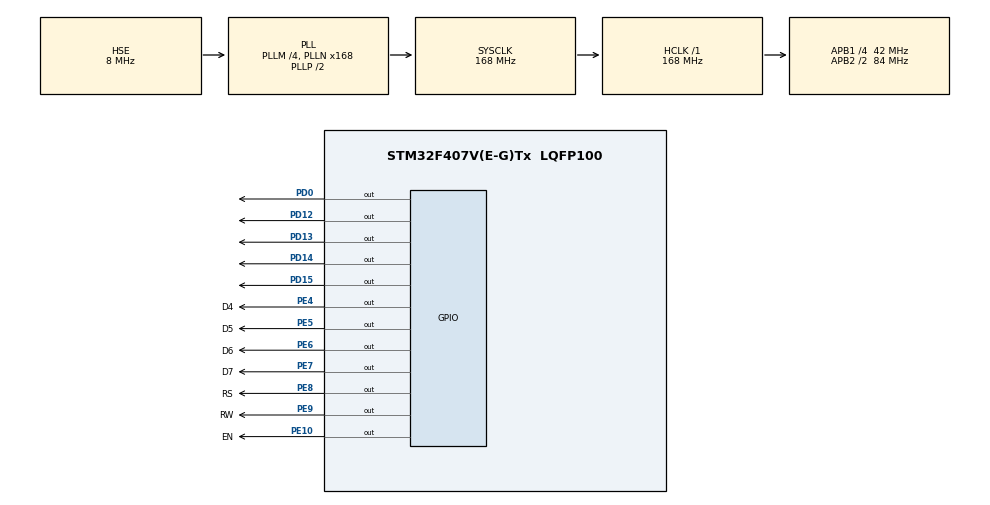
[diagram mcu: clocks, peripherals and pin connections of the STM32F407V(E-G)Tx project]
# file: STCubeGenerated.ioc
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Mcu.Family=STM32F4
Mcu.Name=STM32F407V(E-G)Tx
Mcu.Package=LQFP100
NVIC.PriorityGroup=NVIC_PRIORITYGROUP_4
PD0.GPIO_Speed=GPIO_SPEED_FREQ_VERY_HIGH
PD0.Signal=GPIO_Output
PD12.Signal=GPIO_Output
PD13.Signal=GPIO_Output
PD14.Signal=GPIO_Output
PD15.Signal=GPIO_Output
PE10.GPIO_Label=EN
PE10.GPIO_ModeDefaultOutputPP=GPIO_MODE_OUTPUT_PP
PE10.GPIO_PuPd=GPIO_NOPULL
PE10.Signal=GPIO_Output
PE4.GPIO_Label=D4
PE4.GPIO_ModeDefaultOutputPP=GPIO_MODE_OUTPUT_PP
PE4.GPIO_PuPd=GPIO_NOPULL
PE4.Signal=GPIO_Output
PE5.GPIO_Label=D5
PE5.GPIO_ModeDefaultOutputPP=GPIO_MODE_OUTPUT_PP
PE5.GPIO_PuPd=GPIO_NOPULL
PE5.Signal=GPIO_Output
PE6.GPIO_Label=D6
PE6.GPIO_ModeDefaultOutputPP=GPIO_MODE_OUTPUT_PP
PE6.GPIO_PuPd=GPIO_NOPULL
PE6.Signal=GPIO_Output
PE7.GPIO_Label=D7
PE7.GPIO_ModeDefaultOutputPP=GPIO_MODE_OUTPUT_PP
PE7.GPIO_PuPd=GPIO_NOPULL
PE7.Signal=GPIO_Output
PE8.GPIO_Label=RS
PE8.GPIO_ModeDefaultOutputPP=GPIO_MODE_OUTPUT_PP
PE8.GPIO_PuPd=GPIO_NOPULL
PE8.Signal=GPIO_Output
PE9.GPIO_Label=RW
PE9.GPIO_ModeDefaultOutputPP=GPIO_MODE_OUTPUT_PP
PE9.GPIO_PuPd=GPIO_NOPULL
PE9.Signal=GPIO_Output
PH0-OSC_IN.Mode=HSE-External-Oscillator
PH0-OSC_IN.Signal=RCC_OSC_IN
PH1-OSC_OUT.Mode=HSE-External-Oscillator
PH1-OSC_OUT.Signal=RCC_OSC_OUT
ProjectManager.HeapSize=0x200
ProjectManager.StackSize=0x400
ProjectManager.TargetToolchain=MDK-ARM V5
RCC.48MHZClocksFreq_Value=84000000
RCC.AHBFreq_Value=168000000
RCC.APB1CLKDivider=RCC_HCLK_DIV4
RCC.APB1Freq_Value=42000000
RCC.APB1TimFreq_Value=84000000
RCC.APB2CLKDivider=RCC_HCLK_DIV2
RCC.APB2Freq_Value=84000000
RCC.APB2TimFreq_Value=168000000
RCC.CortexFreq_Value=168000000
RCC.HCLKFreq_Value=168000000
RCC.HSE_VALUE=8000000
RCC.HSI_VALUE=16000000
RCC.LSE_VALUE=32768
RCC.PLLM=4
RCC.PLLN=168
RCC.PLLSourceVirtual=RCC_PLLSOURCE_HSE
RCC.SYSCLKFreq_VALUE=168000000
RCC.SYSCLKSource=RCC_SYSCLKSOURCE_PLLCLK
RCC.VCOOutputFreq_Value=336000000
TIM2.Period=65536-1
TIM2.Prescaler=84-1
VP_TIM2_VS_ClockSourceINT.Mode=Internal
board=custom

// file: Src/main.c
/* USER CODE BEGIN Header */
/**
  ******************************************************************************
  * @file           : main.c
  * @brief          : Main program body
  ******************************************************************************
  * @attention
  *
  * Copyright (c) 2023 STMicroelectronics.
  * All rights reserved.
  *
  * This software is licensed under terms that can be found in the LICENSE file
  * in the root directory of this software component.
  * If no LICENSE file comes with this software, it is provided AS-IS.
  *
  ******************************************************************************
  */
/* USER CODE END Header */
#include "main.h"

/* USER CODE BEGIN Includes */
#include "lcd.h"

/* USER CODE END Includes */

TIM_HandleTypeDef htim2;

void SystemClock_Config(void);
static void MX_GPIO_Init(void);
static void MX_TIM2_Init(void);

/* USER CODE BEGIN 0 */

/***********************************************************************/
/* one-wire */

void make_output (void)
{
	//__HAL_RCC_GPIOD_CLK_ENABLE();
	GPIO_InitTypeDef GPIO_InitStruct = {0};
	HAL_GPIO_WritePin(GPIOD, GPIO_PIN_0, GPIO_PIN_SET);
  GPIO_InitStruct.Pin = GPIO_PIN_0;
  GPIO_InitStruct.Mode = GPIO_MODE_OUTPUT_OD;
  GPIO_InitStruct.Pull = GPIO_NOPULL;
  GPIO_InitStruct.Speed = GPIO_SPEED_FREQ_HIGH;
  HAL_GPIO_Init(GPIOD, &GPIO_InitStruct);
}

void make_input (void)
{
	GPIO_InitTypeDef GPIO_InitStruct = {0};
	HAL_GPIO_WritePin(GPIOD, GPIO_PIN_0, GPIO_PIN_SET);
  GPIO_InitStruct.Pin = GPIO_PIN_0;
  GPIO_InitStruct.Mode = GPIO_MODE_INPUT;
  //GPIO_InitStruct.Pull = GPIO_NOPULL;
  GPIO_InitStruct.Speed = GPIO_SPEED_FREQ_HIGH;
  HAL_GPIO_Init(GPIOD, &GPIO_InitStruct);
}

void delayus (uint32_t us)
{

	__HAL_TIM_SET_COUNTER(&htim2,0);  // set the counter value a 0
	//HAL_TIM_Base_Start(&htim2);
	while (__HAL_TIM_GET_COUNTER(&htim2) < us );  // wait for the counter to reach the us input in the parameter
	// HAL_TIM_Base_Stop(&htim2);

}

void LH_signal(uint32_t L_time, uint32_t H_time) {
	HAL_GPIO_WritePin(GPIOD, GPIO_PIN_0, GPIO_PIN_RESET);
	delayus(L_time);//From pullup_HIGH to GND_LOW
	HAL_GPIO_WritePin(GPIOD, GPIO_PIN_0, GPIO_PIN_SET);
	delayus(H_time);//From GND_LOW to pullup_HIGH
}

uint8_t read_bit(void) {
	uint8_t bit = 0;
	LH_signal(1, 10);
	make_input();
	bit = (HAL_GPIO_ReadPin(GPIOD, GPIO_PIN_0) ? 1 : 0);
	delayus(50);
	make_output();
	return bit;
}

void write_bit(uint8_t bit) {
	if(bit == 0) LH_signal(60, 1);
	else LH_signal(1, 60);
}

uint8_t read_byte(void) {
	uint8_t data = 0;
	for (uint8_t i = 0; i < 8; i++)
	data += read_bit() << i;
	return data;
}

void write_byte(uint8_t data) {
	for (uint8_t i = 0; i < 8; i++)
		write_bit(data >> i & 1);
}

void get_presence(void) {
	uint8_t flag = 1;
	LH_signal(500, 0);
	make_input();
	delayus(60);//look for GND_LOW = DS18B20 exists, and set flag = 1
	flag = (HAL_GPIO_ReadPin(GPIOD, GPIO_PIN_0) ? 0 : 1); //not ?1:0
	make_output();
	delayus(400);
	if(flag) {
		HAL_GPIO_WritePin(GPIOD, GPIO_PIN_12, 1); //DS18B20 is ok, green led
		HAL_GPIO_WritePin(GPIOD, GPIO_PIN_14, 0);	//DS18B20 not ok, red led
	} else  {
		HAL_GPIO_WritePin(GPIOD, GPIO_PIN_12, 0);
		HAL_GPIO_WritePin(GPIOD, GPIO_PIN_14, 1);

	}

	HAL_Delay(1000);
}

void reset(void) {
	LH_signal(500, 500);
}

void get_ID(int * id_data) {
	// uint8_t id_data[] = {0,0,0,0,0,0,0,0};//8 Byte
	reset();
	write_byte(0x33);//Read ROM [33h] command
	for (uint8_t i = 0; i < 8; i++)
		id_data[i] = read_byte();//id_data[0] = 40 = 0x28
	/*
	for (uint8_t i = 0; i < 8; i++)
	{
		USB_Info_tutu("id", i, " = ", id_data[i]);
		HAL_Delay(200);
	}
	*/
}

void wait_for_1(uint32_t time) {
	make_input();
	delayus(time);
	while(HAL_GPIO_ReadPin(GPIOD, GPIO_PIN_0) == 0);
	make_output();
}

float get_temperature(void) {
	uint8_t pad_data[] = {0,0,0,0,0,0,0,0,0};//9 Byte
	reset();
	write_byte(0xCC);//Skip ROM [CCh]
	write_byte(0x44);//Convert Temperature [44h]
	wait_for_1(20);
	reset();
	write_byte(0xCC);//Skip ROM [CCh]
	write_byte(0xBE);//Read Scratchpad [BEh]
	for (uint8_t i = 0; i < 9; i++)
	pad_data[i] = read_byte();
	//factor out 1/16 and remember 1/16 != 1/16.0
	return ((pad_data[1] << 8) + pad_data[0])/16.0;
	//DS18B20.pdf: val of bit0: 2^(-4) = 1/16
}

/***********************************************************************/

/* USER CODE END 0 */

int main(void)
{

  /* MCU Configuration--------------------------------------------------------*/

  /* Reset of all peripherals, Initializes the Flash interface and the Systick. */
  HAL_Init();

  /* Configure the system clock */
  SystemClock_Config();

  /* Initialize all configured peripherals */
  MX_GPIO_Init();
  MX_TIM2_Init();
  /* USER CODE BEGIN 2 */

	// lcd_init
	HAL_GPIO_WritePin(RW_GPIO_Port, RW_Pin, 0);
	Lcd_PortType ports[] = { D4_GPIO_Port, D5_GPIO_Port, D6_GPIO_Port, D7_GPIO_Port };
	Lcd_PinType pins[] = {D4_Pin, D5_Pin, D6_Pin, D7_Pin};
	Lcd_HandleTypeDef lcd;
	lcd = Lcd_create(ports, pins, RS_GPIO_Port, RS_Pin, EN_GPIO_Port, EN_Pin, LCD_4_BIT_MODE);

	// write something and wait 3sec
	Lcd_string(&lcd, "BANU Embedded Sys.");
	Lcd_cursor(&lcd, 1,6);
	Lcd_int(&lcd, 2023);
	HAL_Delay(1000);
	Lcd_clear(&lcd);

  /* USER CODE END 2 */

  /* Infinite loop */
  /* USER CODE BEGIN WHILE */

	char str[16];
	int a=60;

	uint32_t L_time=5;
	uint32_t H_time=60;
	make_output();

	int ID[8];
	int * pID=ID;
	double temp;

	HAL_TIM_Base_Start(&htim2);
	make_output();
	reset();

  while (1)
  {

		get_presence();

		get_ID(pID);

		// write id to the lcd
		for (int i=0; i<16; i=i+2)
		{
			Lcd_cursor(&lcd, 0, i);
			snprintf(str, 16, "%x ", ID[i]);
			Lcd_string(&lcd, str);
		}

		temp=get_temperature();
		Lcd_cursor(&lcd, 1, 0);
		snprintf(str, 16, "Temp= %f ", temp);
		Lcd_string(&lcd, str);

    /* USER CODE END WHILE */

  }
}

void SystemClock_Config(void)
{
  RCC_OscInitTypeDef RCC_OscInitStruct = {0};
  RCC_ClkInitTypeDef RCC_ClkInitStruct = {0};

  /** Configure the main internal regulator output voltage
  */
  __HAL_RCC_PWR_CLK_ENABLE();
  __HAL_PWR_VOLTAGESCALING_CONFIG(PWR_REGULATOR_VOLTAGE_SCALE1);

  /** Initializes the RCC Oscillators according to the specified parameters
  * in the RCC_OscInitTypeDef structure.
  */
  RCC_OscInitStruct.OscillatorType = RCC_OSCILLATORTYPE_HSE;
  RCC_OscInitStruct.HSEState = RCC_HSE_ON;
  RCC_OscInitStruct.PLL.PLLState = RCC_PLL_ON;
  RCC_OscInitStruct.PLL.PLLSource = RCC_PLLSOURCE_HSE;
  RCC_OscInitStruct.PLL.PLLM = 4;
  RCC_OscInitStruct.PLL.PLLN = 168;
  RCC_OscInitStruct.PLL.PLLP = RCC_PLLP_DIV2;
  RCC_OscInitStruct.PLL.PLLQ = 4;
  if (HAL_RCC_OscConfig(&RCC_OscInitStruct) != HAL_OK)
  {
    Error_Handler();
  }

  /** Initializes the CPU, AHB and APB buses clocks
  */
  RCC_ClkInitStruct.ClockType = RCC_CLOCKTYPE_HCLK|RCC_CLOCKTYPE_SYSCLK
                              |RCC_CLOCKTYPE_PCLK1|RCC_CLOCKTYPE_PCLK2;
  RCC_ClkInitStruct.SYSCLKSource = RCC_SYSCLKSOURCE_PLLCLK;
  RCC_ClkInitStruct.AHBCLKDivider = RCC_SYSCLK_DIV1;
  RCC_ClkInitStruct.APB1CLKDivider = RCC_HCLK_DIV4;
  RCC_ClkInitStruct.APB2CLKDivider = RCC_HCLK_DIV2;

  if (HAL_RCC_ClockConfig(&RCC_ClkInitStruct, FLASH_LATENCY_5) != HAL_OK)
  {
    Error_Handler();
  }
}

static void MX_TIM2_Init(void)
{

  TIM_ClockConfigTypeDef sClockSourceConfig = {0};
  TIM_MasterConfigTypeDef sMasterConfig = {0};

  htim2.Instance = TIM2;
  htim2.Init.Prescaler = 84-1;
  htim2.Init.CounterMode = TIM_COUNTERMODE_UP;
  htim2.Init.Period = 65536-1;
  htim2.Init.ClockDivision = TIM_CLOCKDIVISION_DIV1;
  htim2.Init.AutoReloadPreload = TIM_AUTORELOAD_PRELOAD_DISABLE;
  if (HAL_TIM_Base_Init(&htim2) != HAL_OK)
  {
    Error_Handler();
  }
  sClockSourceConfig.ClockSource = TIM_CLOCKSOURCE_INTERNAL;
  if (HAL_TIM_ConfigClockSource(&htim2, &sClockSourceConfig) != HAL_OK)
  {
    Error_Handler();
  }
  sMasterConfig.MasterOutputTrigger = TIM_TRGO_RESET;
  sMasterConfig.MasterSlaveMode = TIM_MASTERSLAVEMODE_DISABLE;
  if (HAL_TIMEx_MasterConfigSynchronization(&htim2, &sMasterConfig) != HAL_OK)
  {
    Error_Handler();
  }

}

static void MX_GPIO_Init(void)
{
  GPIO_InitTypeDef GPIO_InitStruct = {0};

  /* GPIO Ports Clock Enable */
  __HAL_RCC_GPIOE_CLK_ENABLE();
  __HAL_RCC_GPIOH_CLK_ENABLE();
  __HAL_RCC_GPIOD_CLK_ENABLE();

  /*Configure GPIO pin Output Level */
  HAL_GPIO_WritePin(GPIOE, D4_Pin|D5_Pin|D6_Pin|D7_Pin
                          |RS_Pin|RW_Pin|EN_Pin, GPIO_PIN_RESET);

  /*Configure GPIO pin Output Level */
  HAL_GPIO_WritePin(GPIOD, GPIO_PIN_12|GPIO_PIN_13|GPIO_PIN_14|GPIO_PIN_15
                          |GPIO_PIN_0, GPIO_PIN_RESET);

  /*Configure GPIO pins : D4_Pin D5_Pin D6_Pin D7_Pin
                           RS_Pin RW_Pin EN_Pin */
  GPIO_InitStruct.Pin = D4_Pin|D5_Pin|D6_Pin|D7_Pin
                          |RS_Pin|RW_Pin|EN_Pin;
  GPIO_InitStruct.Mode = GPIO_MODE_OUTPUT_PP;
  GPIO_InitStruct.Pull = GPIO_NOPULL;
  GPIO_InitStruct.Speed = GPIO_SPEED_FREQ_LOW;
  HAL_GPIO_Init(GPIOE, &GPIO_InitStruct);

  /*Configure GPIO pins : PD12 PD13 PD14 PD15 */
  GPIO_InitStruct.Pin = GPIO_PIN_12|GPIO_PIN_13|GPIO_PIN_14|GPIO_PIN_15;
  GPIO_InitStruct.Mode = GPIO_MODE_OUTPUT_PP;
  GPIO_InitStruct.Pull = GPIO_NOPULL;
  GPIO_InitStruct.Speed = GPIO_SPEED_FREQ_LOW;
  HAL_GPIO_Init(GPIOD, &GPIO_InitStruct);

  /*Configure GPIO pin : PD0 */
  GPIO_InitStruct.Pin = GPIO_PIN_0;
  GPIO_InitStruct.Mode = GPIO_MODE_OUTPUT_PP;
  GPIO_InitStruct.Pull = GPIO_NOPULL;
  GPIO_InitStruct.Speed = GPIO_SPEED_FREQ_VERY_HIGH;
  HAL_GPIO_Init(GPIOD, &GPIO_InitStruct);

}

void Error_Handler(void)
{
  __disable_irq();
  while (1)
  {
  }
}
